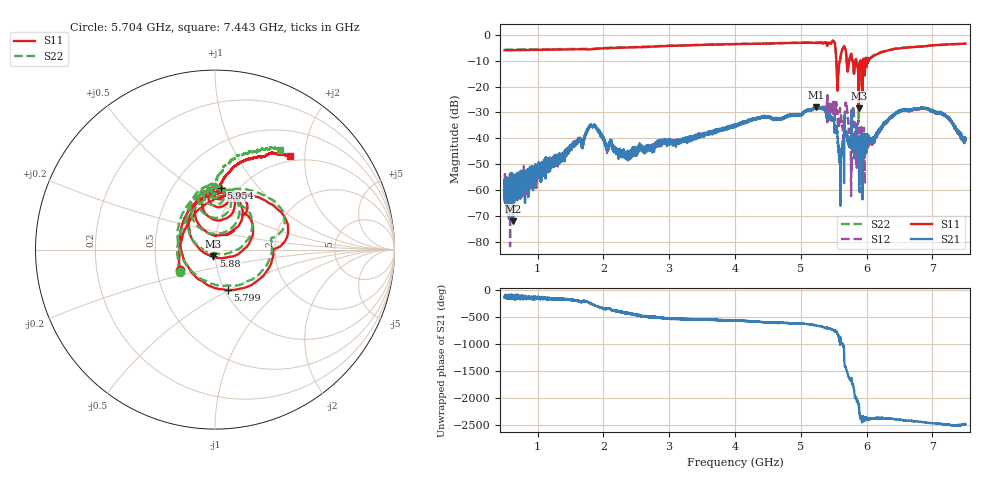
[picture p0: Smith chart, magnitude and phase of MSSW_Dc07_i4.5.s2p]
!Keysight Technologies,M9374A,MY55442783,A.12.55.05
!Date: Thursday, May 20, 2021 16:01:51
!Correction: S11(Full 2 Port(1,2))
!S21(Full 2 Port(1,2))
!S12(Full 2 Port(1,2))
!S22(Full 2 Port(1,2))
!S2P File: Measurements: S11, S21, S12, S22:
# Hz S  RI  R 50
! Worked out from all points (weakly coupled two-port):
!   7001 points, 500 MHz to 7.5 GHz, reference 50 ohm
!   highest |S21| = -27.93 dB at 5.236 GHz (marker M1); lowest = -72.0 dB at 629 MHz (marker M2)
!   lowest |S11| = -28.4 dB at 5.88 GHz (marker M3), VSWR 1.08, Z = 48.9 - j3.63 ohm
!   |S11| at or under -10 dB: 5.54 GHz to 5.595 GHz (55.38 MHz wide, 0.995 % of centre); 5.788 GHz to 5.831 GHz (42.97 MHz wide, 0.74 % of centre); 5.844 GHz to 5.907 GHz (63.29 MHz wide, 1.08 % of centre) (the widest 3 of 9)
!   |S22| runs from -33.2 to -2.2 dB; largest |S21 - S12| = 0.076
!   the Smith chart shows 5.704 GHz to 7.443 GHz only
!   S11 on the Smith chart (normalised r, x): 5.704 GHz: 0.66, -0.16; 5.799 GHz: 1.04, -0.50; 5.88 GHz: 0.98, -0.07; 5.954 GHz: 0.84, +0.65; 7.443 GHz: 0.90, +1.70
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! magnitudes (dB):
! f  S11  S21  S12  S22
! 500 MHz  -6.0  -56.7  -57.7  -5.8
! 629 MHz  -6.0  -72.0  -57.4  -5.7
! 1.667 GHz  -5.6  -42.4  -42.5  -5.5
! 1.838 GHz  -5.6  -35.2  -35.4  -5.5
! 2.349 GHz  -4.9  -46.9  -47.1  -4.8
! 2.834 GHz  -4.5  -41.7  -43.2  -4.4
! 4 GHz  -3.6  -35.5  -35.4  -3.6
! 5.167 GHz  -3.1  -28.6  -28.9  -2.9
! 5.236 GHz  -3.1  -27.9  -28.0  -2.9
! 5.473 GHz  -2.7  -32.7  -29.0  -2.6
! 5.563 GHz  -18.0  -42.0  -35.3  -17.1
! 5.598 GHz  -9.5  -55.5  -28.7  -9.6
! 5.651 GHz  -4.8  -43.5  -39.3  -4.7
! 5.704 GHz  -12.9  -38.9  -28.9  -12.6
! 5.746 GHz  -8.9  -40.9  -40.5  -8.7
! 5.799 GHz  -12.5  -41.1  -28.1  -12.8
! 5.88 GHz  -28.4  -46.0  -35.1  -33.2
! 5.954 GHz  -9.2  -39.4  -38.3  -8.9
! 6.334 GHz  -6.0  -32.5  -32.8  -5.9
! 6.913 GHz  -4.4  -28.4  -28.5  -4.4
! 7.443 GHz  -3.5  -39.5  -39.6  -3.6
! 7.5 GHz  -3.4  -40.0  -40.3  -3.5
